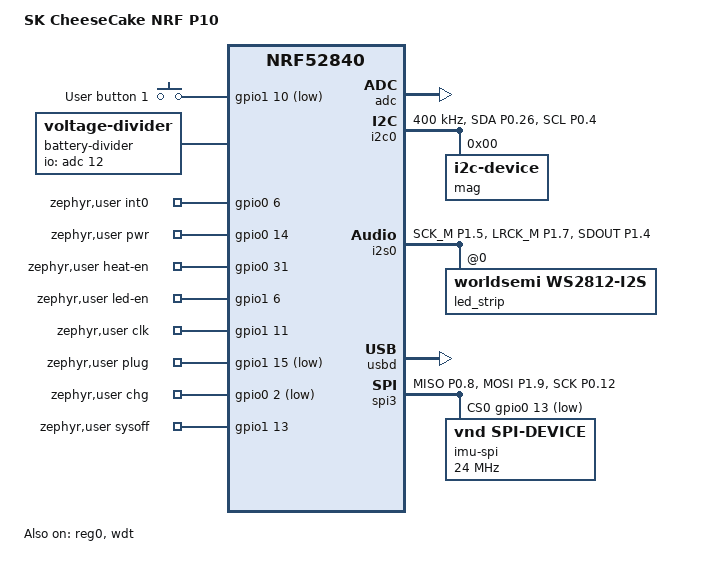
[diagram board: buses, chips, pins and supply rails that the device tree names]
// Copyright (c) 2026
// SPDX-License-Identifier: Apache-2.0

/dts-v1/;
#include <nordic/nrf52840_qiaa.dtsi>
#include <zephyr/dt-bindings/led/led.h>

&pinctrl {
	i2c0_default: i2c0_default {
		group1 {
			psels = <NRF_PSEL(TWIM_SDA, 0, 26)>,
				<NRF_PSEL(TWIM_SCL, 0, 4)>;
			bias-disable;
		};
	};

	i2c0_sleep: i2c0_sleep {
		group1 {
			psels = <NRF_PSEL(TWIM_SDA, 0, 26)>,
				<NRF_PSEL(TWIM_SCL, 0, 4)>;
			bias-disable;
			low-power-enable;
		};
	};

	i2s0_default: i2s0_default {
		group1 {
			psels = <NRF_PSEL(I2S_SCK_M, 1, 5)>,
				<NRF_PSEL(I2S_LRCK_M, 1, 7)>,
				<NRF_PSEL_DISCONNECTED(I2S_MCK)>,
				<NRF_PSEL(I2S_SDOUT, 1, 4)>,
				<NRF_PSEL_DISCONNECTED(I2S_SDIN)>;
		};
	};

	i2s0_sleep: i2s0_sleep {
		group1 {
			psels = <NRF_PSEL(I2S_SCK_M, 1, 5)>,
				<NRF_PSEL(I2S_LRCK_M, 1, 7)>,
				<NRF_PSEL_DISCONNECTED(I2S_MCK)>,
				<NRF_PSEL(I2S_SDOUT, 1, 4)>,
				<NRF_PSEL_DISCONNECTED(I2S_SDIN)>;
			low-power-enable;
		};
	};

	spi3_default: spi3_default {
		group1 {
			psels = <NRF_PSEL(SPIM_MISO, 0, 8)>,
				<NRF_PSEL(SPIM_MOSI, 1, 9)>,
				<NRF_PSEL(SPIM_SCK, 0, 12)>;
		};
	};

	spi3_sleep: spi3_sleep {
		group1 {
			psels = <NRF_PSEL(SPIM_MISO, 0, 8)>,
				<NRF_PSEL(SPIM_MOSI, 1, 9)>,
				<NRF_PSEL(SPIM_SCK, 0, 12)>;
			low-power-enable;
		};
	};
};

/ {
	model = "SK CheeseCake NRF P10";
	compatible = "kemopati,sk-cheesecake-nrf-p10";

	chosen {
		zephyr,sram = &sram0;
		zephyr,flash = &flash0;
		zephyr,console = &cdc_acm_uart0;
		zephyr,shell-uart = &cdc_acm_uart0;
	};

	buttons {
		compatible = "gpio-keys";

		button0: button_0 {
			gpios = <&gpio1 10 (GPIO_PULL_UP | GPIO_ACTIVE_LOW)>;
			label = "User button 1";
		};
	};

	aliases {
		sw0 = &button0;
		/* No sw1: on the P10 that pin (P0.13) is the IMU chip select. */
		led-strip = &led_strip;
	};

	battery-divider {
		compatible = "voltage-divider";
		status = "okay";
		io-channels = <&adc 12>; /* VDDH/5 */
		output-ohms = <1>;
		full-ohms = <5>;
	};

	zephyr,user {
		int0-gpios = <&gpio0 6 0>;
		pwr-gpios = <&gpio0 14 GPIO_ACTIVE_HIGH>;
		heat-en-gpios = <&gpio0 31 GPIO_ACTIVE_HIGH>;
		led-en-gpios = <&gpio1 6 GPIO_ACTIVE_HIGH>;
		clk-gpios = <&gpio1 11 GPIO_ACTIVE_HIGH>;
		plug-gpios = <&gpio1 15 (GPIO_ACTIVE_LOW | GPIO_PULL_UP)>;
		chg-gpios = <&gpio0 2 (GPIO_ACTIVE_LOW | GPIO_PULL_UP)>;
		sysoff-gpios = <&gpio1 13 GPIO_ACTIVE_HIGH>;
	};
};

&reg0 {
	status = "okay";
};

&reg1 {
	regulator-initial-mode = <NRF5X_REG_MODE_DCDC>;
};

&adc {
	status = "okay";
};

&gpiote {
	status = "okay";
};

&gpio0 {
	status = "okay";
};

&gpio1 {
	status = "okay";
};

&i2c0 {
	compatible = "nordic,nrf-twim";
	status = "okay";
	zephyr,concat-buf-size = <1023>;
	zephyr,flash-buf-max-size = <1023>;
	clock-frequency = <I2C_BITRATE_FAST>;
	pinctrl-0 = <&i2c0_default>;
	pinctrl-1 = <&i2c0_sleep>;
	pinctrl-names = "default", "sleep";

	mag: mag@0 {
		compatible = "i2c-device";
		label = "mag";
		reg = <0>;
	};
};

&i2s0 {
	status = "okay";
	pinctrl-0 = <&i2s0_default>;
	pinctrl-1 = <&i2s0_sleep>;
	pinctrl-names = "default", "sleep";

	led_strip: ws2812@0 {
		compatible = "worldsemi,ws2812-i2s";
		reg = <0>;
		chain-length = <1>;
		color-mapping = <LED_COLOR_ID_GREEN
				 LED_COLOR_ID_RED
				 LED_COLOR_ID_BLUE>;
		out-active-low;
		/* XL-2121RGBC-WS2812B requires more than 80 us of reset delay. */
		reset-delay = <100>;
	};
};

zephyr_udc0: &usbd {
	compatible = "nordic,nrf-usbd";
	status = "okay";
	cdc_acm_uart0: cdc_acm_uart0 {
		compatible = "zephyr,cdc-acm-uart";
	};
};

&wdt {
	status = "okay";
};

&cryptocell {
	status = "disabled";
};

&nfct {
	status = "disabled";
};

&spi3 {
	compatible = "nordic,nrf-spim";
	status = "okay";
	max-frequency = <DT_FREQ_M(24)>;
	pinctrl-0 = <&spi3_default>;
	pinctrl-1 = <&spi3_sleep>;
	pinctrl-names = "default", "sleep";
	cs-gpios = <&gpio0 13 GPIO_ACTIVE_LOW>;

	imu_spi: imu_spi@0 {
		compatible = "vnd,spi-device";
		spi-max-frequency = <DT_FREQ_M(24)>;
		label = "imu-spi";
		reg = <0>;
	};
};
